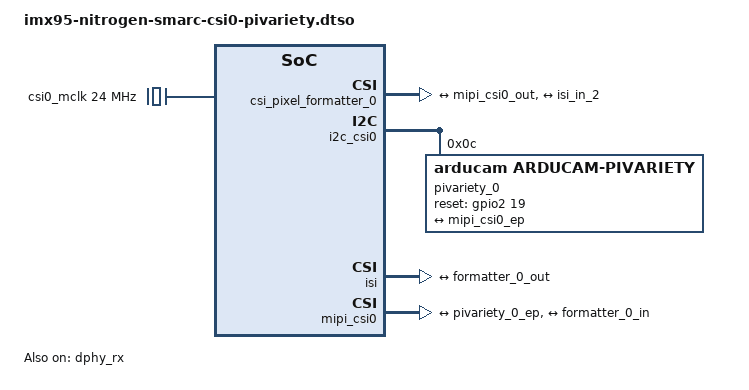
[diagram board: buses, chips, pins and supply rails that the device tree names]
// SPDX-License-Identifier: (GPL-2.0+ OR MIT)
/*
 * Copyright 2024 Ezurio LLC
 */

/dts-v1/;
/plugin/;

#include <dt-bindings/gpio/gpio.h>

#include "imx95-pinfunc.h"

&{/} {
	csi0_mclk: csi0-mclk {
		#clock-cells = <0>;
		clock-frequency = <24000000>;
		compatible = "fixed-clock";
	};
};

&csi_pixel_formatter_0 {
	status = "okay";

	ports {
		#address-cells = <1>;
		#size-cells = <0>;

		port@0 {
			reg = <0>;

			formatter_0_in: endpoint {
				remote-endpoint = <&mipi_csi0_out>;
			};
		};

		port@1 {
			reg = <1>;

			formatter_0_out: endpoint {
				remote-endpoint = <&isi_in_2>;
			};
		};
	};
};

&dphy_rx {
	status = "okay";
};

&i2c_csi0 {
	#address-cells = <1>;
	#size-cells = <0>;
	status = "okay";

	pivariety_0: camera@c {
		compatible = "arducam,arducam-pivariety";
		reg = <0x0c>;
		pinctrl-names = "default";
		pinctrl-0 = <&pinctrl_csi0_camera>;
		clocks = <&csi0_mclk>;
		clock-names = "xclk";
		reset-gpios = <&gpio2 19 GPIO_ACTIVE_HIGH>;
		status = "okay";

		port {
			pivariety_0_ep: endpoint {
				remote-endpoint = <&mipi_csi0_ep>;
				clock-lanes = <0>;
				data-lanes = <1 2 3 4>;
			};
		};
	};
};

&isi {
	status = "okay";

	ports {
		#address-cells = <1>;
		#size-cells = <0>;

		port@2 {
			reg = <2>;

			isi_in_2: endpoint {
				remote-endpoint = <&formatter_0_out>;
			};
		};
	};
};

&mipi_csi0 {
	status = "okay";

	ports {
		#address-cells = <1>;
		#size-cells = <0>;

		port@0 {
			reg = <0>;
			mipi_csi0_ep: endpoint {
				remote-endpoint = <&pivariety_0_ep>;
				data-lanes = <1 2 3 4>;
				clock-lanes = <0>;
			};
		};

		port@1 {
			reg = <1>;
				mipi_csi0_out: endpoint {
				remote-endpoint = <&formatter_0_in>;
			};
		};
	};
};

&scmi_iomuxc {
	pinctrl_csi0_camera: csi0-cameragrp {
		fsl,pins = <
			IMX95_PAD_GPIO_IO19__GPIO2_IO_BIT19	0x31e
		>;
	};
};
